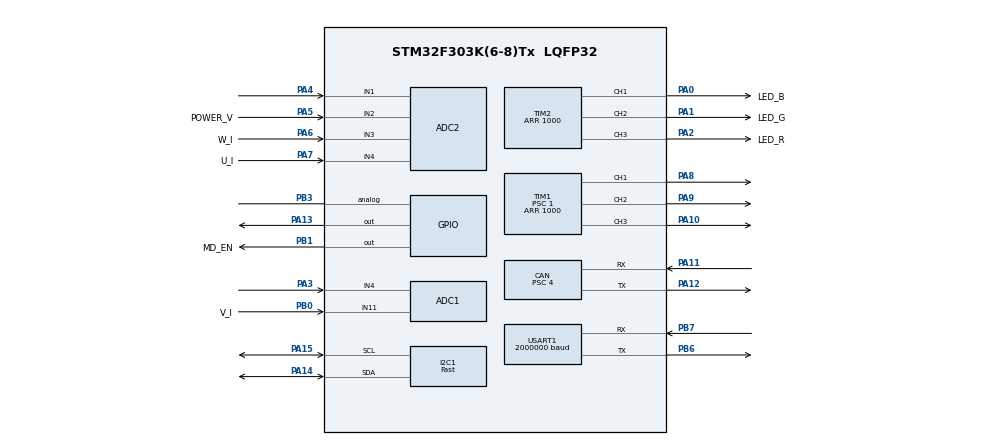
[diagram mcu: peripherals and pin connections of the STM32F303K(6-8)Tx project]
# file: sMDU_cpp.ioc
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Mcu.Family=STM32F3
ADC2.ExternalTrigConv=ADC_EXTERNALTRIGCONV_T1_TRGO
PA6.Mode=IN3-Single-Ended
ADC2.OffsetNumber-2\#ChannelRegularConversion=ADC_OFFSET_NONE
TIM17.Prescaler=72-1
RCC.CortexFreq_Value=72000000
VP_TIM17_VS_ClockSourceINT.Mode=Enable_Timer
NVIC.I2C1_EV_IRQn=true\:0\:0\:false\:false\:true\:true\:true
I2C1.I2C_Speed_Mode=I2C_Fast
PF0\ /\ OSC_IN.Mode=HSE-External-Oscillator
ADC2.SamplingTime-1\#ChannelRegularConversion=ADC_SAMPLETIME_4CYCLES_5
ADC2.Channel-0\#ChannelRegularConversion=ADC_CHANNEL_3
TIM1.RepetitionCounter=1
NVIC.CAN_RX0_IRQn=true\:0\:0\:false\:false\:true\:true\:true
USART1.BaudRate=2000000
RCC.SYSCLKSourceVirtual=RCC_SYSCLKSOURCE_PLLCLK
PA0.GPIO_Label=LED_B
PA11.Mode=CAN_Activate
PA6.GPIO_Label=W_I
PB0.GPIO_Label=V_I
TIM2.Channel-PWM\ Generation2\ CH2=TIM_CHANNEL_2
NVIC.TIM6_DAC1_IRQn=true\:0\:0\:false\:false\:true\:true\:true
ProjectManager.StackSize=0x400
VP_TIM7_VS_ClockSourceINT.Mode=Enable_Timer
PA12.Signal=CAN_TX
CAN.Prescaler=4
TIM1.OCMode_PWM-PWM\ Generation3\ CH3=TIM_OCMODE_PWM2
TIM1.Prescaler=1
PA4.Mode=IN1-Single-Ended
ADC2.DMAContinuousRequests=ENABLE
ADC1.Channel-3\#ChannelRegularConversion=ADC_CHANNEL_4
RCC.HCLKFreq_Value=72000000
RCC.APB2TimFreq_Value=72000000
PB6.Signal=USART1_TX
Dma.ADC1.0.Direction=DMA_PERIPH_TO_MEMORY
ADC1.Channel-2\#ChannelRegularConversion=ADC_CHANNEL_11
PB6.Mode=Asynchronous
TIM7.Period=7200-1
ADC1.SubFamily=STM32F303x8
ADC1.Offset-3\#ChannelRegularConversion=0
ADC2.EOCSelection=ADC_EOC_SEQ_CONV
Dma.ADC1.0.MemDataAlignment=DMA_MDATAALIGN_HALFWORD
RCC.AHBFreq_Value=72000000
RCC.HSE_VALUE=16000000
PA15.Mode=I2C
RCC.RCC_PLLsource_Clock_Source_FROM_HSE=RCC_HSE_PREDIV_DIV2
RCC.PLLMUL=RCC_PLL_MUL9
Dma.ADC2.1.Instance=DMA1_Channel2
ADC1.Rank-2\#ChannelRegularConversion=1
TIM1.Channel-PWM\ Generation1\ CH1=TIM_CHANNEL_1
PA14.Mode=I2C
PB1.GPIO_Label=MD_EN
Dma.ADC1.0.PeriphInc=DMA_PINC_DISABLE
PB7.Signal=USART1_RX
PA8.Signal=S_TIM1_CH1
Dma.ADC2.1.PeriphInc=DMA_PINC_DISABLE
TIM2.Channel-PWM\ Generation1\ CH1=TIM_CHANNEL_1
SH.S_TIM3_CH1.0=TIM3_CH1
TIM6.Period=18000-1
ADC1.SamplingTimeOPAMP-3\#ChannelRegularConversion=ADC_SAMPLETIME_61CYCLES_5
CAN.CalculateTimeQuantum=111.11111111111111
VP_TIM1_VS_ClockSourceINT.Mode=Internal
PA0.Signal=S_TIM2_CH1_ETR
Mcu.Package=LQFP32
PB1.Signal=GPIO_Output
PA6.Signal=ADC2_IN3
ADC2.Offset-0\#ChannelRegularConversion=0
ADC1.EnableInjectedConversion=DISABLE
ADC2.Overrun=ADC_OVR_DATA_OVERWRITTEN
PA2.GPIO_Label=LED_R
ADC2.Channel-1\#ChannelRegularConversion=ADC_CHANNEL_4
PA10.Signal=S_TIM1_CH3
ADC2.Offset-2\#ChannelRegularConversion=0
PA15.Signal=I2C1_SCL
ADC2.SamplingTime-0\#ChannelRegularConversion=ADC_SAMPLETIME_4CYCLES_5
TIM7.AutoReloadPreload=TIM_AUTORELOAD_PRELOAD_DISABLE
PA14.GPIO_PuPdOD=GPIO_NOPULL
ADC2.SubFamily=STM32F303x8
ADC2.SamplingTime-2\#ChannelRegularConversion=ADC_SAMPLETIME_19CYCLES_5
ADC2.NbrOfConversion=4
Dma.Request1=ADC2
RCC.APB1TimFreq_Value=72000000
ADC2.Rank-2\#ChannelRegularConversion=3
TIM1.Period=1000
ADC2.Rank-0\#ChannelRegularConversion=1
NVIC.USART1_IRQn=true\:0\:0\:false\:false\:true\:true\:true
Dma.Request0=ADC1
ADC1.EOCSelection=ADC_EOC_SEQ_CONV
Dma.ADC2.1.PeriphDataAlignment=DMA_PDATAALIGN_HALFWORD
ADC2.Channel-3\#ChannelRegularConversion=ADC_CHANNEL_1
PB4.Signal=S_TIM3_CH1
PA3.Signal=ADC1_IN4
PA5.Mode=IN2-Single-Ended
RCC.PLLSourceVirtual=RCC_PLLSOURCE_HSE
TIM1.OCPolarity_1=TIM_OCPOLARITY_HIGH
TIM1.OCPolarity_3=TIM_OCPOLARITY_HIGH
Dma.ADC1.0.Instance=DMA1_Channel1
TIM1.OCPolarity_2=TIM_OCPOLARITY_HIGH
PA7.Mode=IN4-Single-Ended
TIM2.CounterMode=TIM_COUNTERMODE_CENTERALIGNED1
ADC2.Offset-3\#ChannelRegularConversion=0
TIM1.CounterMode=TIM_COUNTERMODE_CENTERALIGNED1
ADC2.Rank-3\#ChannelRegularConversion=4
CAN.CalculateBaudRate=1000000
ADC1.OffsetNumber-3\#ChannelRegularConversion=ADC_OFFSET_NONE
VP_TIM6_VS_ClockSourceINT.Mode=Enable_Timer
TIM2.OCPolarity_3=TIM_OCPOLARITY_LOW
NVIC.TIM7_DAC2_IRQn=true\:1\:0\:true\:false\:true\:true\:true
RCC.APB1CLKDivider=RCC_HCLK_DIV2
TIM2.OCPolarity_1=TIM_OCPOLARITY_LOW
TIM2.OCPolarity_2=TIM_OCPOLARITY_LOW
CAN.CalculateTimeBit=999.99
ADC1.SamplingTime-2\#ChannelRegularConversion=ADC_SAMPLETIME_7CYCLES_5
USART1.VirtualMode-Asynchronous=VM_ASYNC
PA3.Mode=IN4-Single-Ended
PA13.Signal=GPIO_Output
SH.S_TIM2_CH2.0=TIM2_CH2,PWM Generation2 CH2
ADC2.OffsetNumber-3\#ChannelRegularConversion=ADC_OFFSET_NONE
Dma.ADC1.0.PeriphDataAlignment=DMA_PDATAALIGN_HALFWORD
CAN.BS1=CAN_BS1_7TQ
SH.S_TIM1_CH1.0=TIM1_CH1,PWM Generation1 CH1
NVIC.DMA1_Channel2_IRQn=true\:0\:0\:false\:false\:true\:false\:true
ProjectManager.TargetToolchain=STM32CubeIDE
Dma.ADC1.0.Mode=DMA_CIRCULAR
Dma.ADC1.0.Priority=DMA_PRIORITY_LOW
PA9.Signal=S_TIM1_CH2
TIM1.Channel-PWM\ Generation2\ CH2=TIM_CHANNEL_2
I2C1.Timing=0x0000020B
ADC1.Offset-2\#ChannelRegularConversion=0
Dma.ADC2.1.Mode=DMA_CIRCULAR
PF1\ /\ OSC_OUT.Signal=RCC_OSC_OUT
PA1.Signal=S_TIM2_CH2
ADC2.OffsetNumber-1\#ChannelRegularConversion=ADC_OFFSET_NONE
PA5.Signal=ADC2_IN2
SH.S_TIM3_CH2.0=TIM3_CH2
ADC2.OffsetNumber-0\#ChannelRegularConversion=ADC_OFFSET_NONE
PB0.Mode=IN11-Single-Ended
board=custom
ADC2.Channel-2\#ChannelRegularConversion=ADC_CHANNEL_2
ADC2.Offset-1\#ChannelRegularConversion=0
TIM1.TIM_MasterOutputTrigger=TIM_TRGO_UPDATE
RCC.APB2Freq_Value=72000000
PF0\ /\ OSC_IN.Signal=RCC_OSC_IN
SH.S_TIM1_CH2.0=TIM1_CH2,PWM Generation2 CH2
VP_TIM2_VS_ClockSourceINT.Mode=Internal
SH.S_TIM2_CH3.0=TIM2_CH3,PWM Generation3 CH3
PA1.GPIO_Label=LED_G
TIM2.Channel-PWM\ Generation3\ CH3=TIM_CHANNEL_3
TIM6.TIM_MasterOutputTrigger=TIM_TRGO_RESET
ADC1.DMAContinuousRequests=ENABLE
ADC2.SamplingTime-3\#ChannelRegularConversion=ADC_SAMPLETIME_19CYCLES_5
Dma.ADC2.1.MemInc=DMA_MINC_ENABLE
TIM2.Period=1000
ADC1.NbrOfConversion=2
ADC1.OffsetNumber-2\#ChannelRegularConversion=ADC_OFFSET_NONE
Mcu.Name=STM32F303K(6-8)Tx
TIM1.OCMode_PWM-PWM\ Generation1\ CH1=TIM_OCMODE_PWM2
PA2.Signal=S_TIM2_CH3
ADC1.ExternalTrigConv=ADC_EXTERNALTRIGCONV_T1_TRGO
ADC2.EnableInjectedConversion=DISABLE
PB3.Signal=GPIO_Analog
PA4.Signal=ADC2_IN1
RCC.SYSCLKFreq_VALUE=72000000
TIM1.TIM_MasterOutputTrigger2=TIM_TRGO2_UPDATE
PB5.Signal=S_TIM3_CH2
Dma.ADC2.1.Direction=DMA_PERIPH_TO_MEMORY
PA7.GPIO_Label=U_I
ADC1.master=1
PA12.Mode=CAN_Activate
PA5.GPIO_Label=POWER_V
ADC1.Rank-3\#ChannelRegularConversion=2
ADC1.SamplingTime-3\#ChannelRegularConversion=ADC_SAMPLETIME_19CYCLES_5
ADC2.NbrOfConversionFlag=1
PB7.Mode=Asynchronous
PA11.Signal=CAN_RX
SH.S_TIM2_CH1_ETR.0=TIM2_CH1,PWM Generation1 CH1
PA14.Signal=I2C1_SDA
Dma.ADC1.0.MemInc=DMA_MINC_ENABLE
ProjectManager.HeapSize=0x200
SH.S_TIM1_CH3.0=TIM1_CH3,PWM Generation3 CH3
PA15.GPIO_PuPdOD=GPIO_NOPULL
RCC.HSI_VALUE=8000000
NVIC.PriorityGroup=NVIC_PRIORITYGROUP_4
ADC1.NbrOfConversionFlag=1
Dma.ADC2.1.MemDataAlignment=DMA_MDATAALIGN_HALFWORD
TIM1.OCMode_PWM-PWM\ Generation2\ CH2=TIM_OCMODE_PWM2
ADC1.EnableRegularConversion=ENABLE
ADC2.Rank-1\#ChannelRegularConversion=2
Dma.ADC2.1.Priority=DMA_PRIORITY_LOW
NVIC.DMA1_Channel1_IRQn=true\:0\:0\:false\:false\:true\:false\:true
TIM1.Channel-PWM\ Generation3\ CH3=TIM_CHANNEL_3
RCC.APB1Freq_Value=36000000
PB0.Signal=ADC1_IN11
TIM1.TIM_MasterSlaveMode=TIM_MASTERSLAVEMODE_ENABLE
PF1\ /\ OSC_OUT.Mode=HSE-External-Oscillator
PA7.Signal=ADC2_IN4

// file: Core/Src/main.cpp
/* USER CODE BEGIN Header */
/**
  ******************************************************************************
  * @file           : main.c
  * @brief          : Main program body
  ******************************************************************************
  * @attention
  *
  * <h2><center>&copy; Copyright (c) 2023 STMicroelectronics.
  * All rights reserved.</center></h2>
  *
  * This software component is licensed by ST under BSD 3-Clause license,
  * the "License"; You may not use this file except in compliance with the
  * License. You may obtain a copy of the License at:
  *                        opensource.org/licenses/BSD-3-Clause
  *
  ******************************************************************************
  */
/* USER CODE END Header */
#include "main.h"
#include "adc.h"
#include "can.h"
#include "dma.h"
#include "i2c.h"
#include "tim.h"
#include "usart.h"
#include "gpio.h"

/* USER CODE BEGIN Includes */
#include "../driver/motor.hpp"
#include "../driver/can.hpp"

/* USER CODE END Includes */

void SystemClock_Config(void);

/* USER CODE BEGIN 0 */
extern "C" {
	int _write(int file, char *ptr, int len) {
		HAL_UART_Transmit_IT(&huart1, (uint8_t*) ptr, len);
		return len;
	}
}

//setup led
#ifdef PWM_LL
PWM R(TIM2, LL_TIM_CHANNEL_CH1, 1000,0,1,false);
PWM G(TIM2, LL_TIM_CHANNEL_CH2, 1000,0,1,false);
PWM B(TIM2, LL_TIM_CHANNEL_CH3, 1000,0,1,false);

//setup pwm
PWM U(TIM1, LL_TIM_CHANNEL_CH3, 950,-1,1,true);
PWM V(TIM1, LL_TIM_CHANNEL_CH2, 950,-1,1,true);
PWM W(TIM1, LL_TIM_CHANNEL_CH1, 950,-1,1,true);
#else
PWM R(&htim2, TIM_CHANNEL_1, 1000,0,1,false);
PWM G(&htim2, TIM_CHANNEL_2, 1000,0,1,false);
PWM B(&htim2, TIM_CHANNEL_3, 1000,0,1,false);

//setup pwm
PWM U(&htim1, TIM_CHANNEL_3, 950,-1,1,true);
PWM V(&htim1, TIM_CHANNEL_2, 950,-1,1,true);
PWM W(&htim1, TIM_CHANNEL_1, 950,-1,1,true);
#endif
DRIVER driver(U,V,W,MD_EN_GPIO_Port,MD_EN_Pin);

ADC_DMA adc1_dma(ADC1,DMA1,LL_DMA_CHANNEL_1,(int)ADC_data::adc1_n);
ADC_DMA adc2_dma(ADC1,DMA1,LL_DMA_CHANNEL_2,(int)ADC_data::adc1_n);
ANALOG_SENS analog(adc1_dma,adc2_dma,3.3/(0.05*4096.0),11.0/4096.0*3.3);

AS5600 as5600_enc(&hi2c1);
AB_LINER ab_liner_enc(analog);
ENCODER enc(7,as5600_enc,ab_liner_enc);

MOTOR motor(driver,analog,enc);

CAN_COM can(&hcan,CAN_FILTER_FIFO0);

void HAL_TIM_PeriodElapsedCallback(TIM_HandleTypeDef *htim){
	if(htim == &htim7){
#ifdef TIM7_INT
		motor.control();
#endif
	}else if(htim == &htim6){
		enc.timer_interrupt_task();
	}
}

void HAL_I2C_MasterRxCpltCallback(I2C_HandleTypeDef *hi2c){
	enc.read_completion_interrupt_task();
}

void HAL_CAN_RxFifo0MsgPendingCallback(CAN_HandleTypeDef *hcan){
    can.rx_interrupt_task();
}

/* USER CODE END 0 */

int main(void)
{

  /* MCU Configuration--------------------------------------------------------*/

  /* Reset of all peripherals, Initializes the Flash interface and the Systick. */
  HAL_Init();

  /* Configure the system clock */
  SystemClock_Config();

  /* Initialize all configured peripherals */
  MX_GPIO_Init();
  MX_DMA_Init();
  MX_ADC1_Init();
  MX_ADC2_Init();
  MX_CAN_Init();
  MX_TIM1_Init();
  MX_TIM2_Init();
  MX_USART1_UART_Init();
  MX_I2C1_Init();
  MX_TIM6_Init();
  MX_TIM7_Init();
  MX_TIM17_Init();
  /* USER CODE BEGIN 2 */
  R.start();
  G.start();
  B.start();

  G.out(0.5);

  enc.select(ENC_type::AB_LINER_HALL);

  HAL_TIM_Base_Start(&htim17); //for measure L
  motor.set_kv(1000*7);
  motor.init();
  printf("int timers start\r\n");
  //encoder timer start
  HAL_TIM_Base_Start_IT(&htim6);
  //motor contorl timer start
  HAL_TIM_Base_Start_IT(&htim7);
  G.out(0);
  R.out(0.5);

  HAL_CAN_Start(&hcan);
  HAL_CAN_ActivateNotification(&hcan, CAN_IT_RX_FIFO0_MSG_PENDING);
  can.set_filter_free();
  can_frame_t data;
  dq_t dq_target = {0,0};

  /* USER CODE END 2 */

  /* Infinite loop */
  while (1)
  {

    /* USER CODE BEGIN 3 */

	  if(can.rx_available()){
		  can.rx(data);
		  if(data.id == 0b1){
			 dq_target.q = *reinterpret_cast<float*>(data.data);
		  }
	  }
	  motor.set_dq_current(dq_target);
	  motor.print_debug();
	  HAL_Delay(1);

  }
  /* USER CODE END 3 */
}

void SystemClock_Config(void)
{
  LL_FLASH_SetLatency(LL_FLASH_LATENCY_2);
  while(LL_FLASH_GetLatency()!= LL_FLASH_LATENCY_2)
  {
  }
  LL_RCC_HSE_Enable();

   /* Wait till HSE is ready */
  while(LL_RCC_HSE_IsReady() != 1)
  {

  }
  LL_RCC_HSI_Enable();

   /* Wait till HSI is ready */
  while(LL_RCC_HSI_IsReady() != 1)
  {

  }
  LL_RCC_HSI_SetCalibTrimming(16);
  LL_RCC_PLL_ConfigDomain_SYS(LL_RCC_PLLSOURCE_HSE_DIV_2, LL_RCC_PLL_MUL_9);
  LL_RCC_PLL_Enable();

   /* Wait till PLL is ready */
  while(LL_RCC_PLL_IsReady() != 1)
  {

  }
  LL_RCC_SetAHBPrescaler(LL_RCC_SYSCLK_DIV_1);
  LL_RCC_SetAPB1Prescaler(LL_RCC_APB1_DIV_2);
  LL_RCC_SetAPB2Prescaler(LL_RCC_APB1_DIV_1);
  LL_RCC_SetSysClkSource(LL_RCC_SYS_CLKSOURCE_PLL);

   /* Wait till System clock is ready */
  while(LL_RCC_GetSysClkSource() != LL_RCC_SYS_CLKSOURCE_STATUS_PLL)
  {

  }
  LL_SetSystemCoreClock(72000000);

   /* Update the time base */
  if (HAL_InitTick (TICK_INT_PRIORITY) != HAL_OK)
  {
    Error_Handler();
  }
  LL_RCC_SetUSARTClockSource(LL_RCC_USART1_CLKSOURCE_PCLK1);
  LL_RCC_SetI2CClockSource(LL_RCC_I2C1_CLKSOURCE_HSI);
  LL_RCC_SetTIMClockSource(LL_RCC_TIM1_CLKSOURCE_PCLK2);
  LL_RCC_SetADCClockSource(LL_RCC_ADC12_CLKSRC_PLL_DIV_1);
}

void Error_Handler(void)
{
  __disable_irq();
  while (1)
  {
  }
}

/************************ (C) COPYRIGHT STMicroelectronics *****END OF FILE****/
